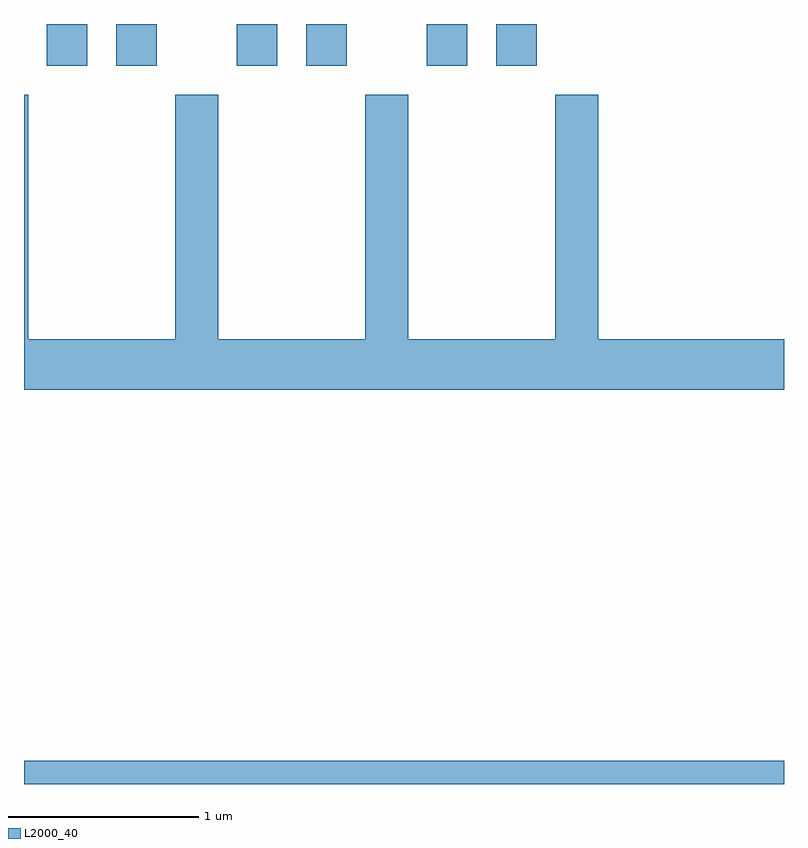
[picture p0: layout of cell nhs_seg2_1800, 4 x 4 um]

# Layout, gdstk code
import gdstk
lib = gdstk.Library(unit=1e-6, precision=1e-09)
def R(c, l, rs):  # rectangles x0, y0, x1, y1
    for r in rs: c.add(gdstk.rectangle(r[:2], r[2:], *l))
def P(c, l, *ps):  # polygons
    for p in ps: c.add(gdstk.Polygon(p, *l))
L2000_40 = (2000, 40)

nhs_seg2_1800 = lib.new_cell('nhs_seg2_1800')
R(nhs_seg2_1800, L2000_40, [(237.611,1041.802,241.611,1041.924), (237.731,1045.581,237.944,1045.802), (238.096,1045.581,238.309,1045.802), (238.731,1045.581,238.944,1045.802), (239.096,1045.581,239.309,1045.802), (239.731,1045.581,239.944,1045.802), (240.096,1045.581,240.309,1045.802)])
P(nhs_seg2_1800, L2000_40, [(237.611,1045.429),(237.611,1043.876),(241.611,1043.876),(241.611,1044.144),(240.634,1044.144),(240.634,1045.429),(240.406,1045.429),(240.406,1044.144),(239.634,1044.144),(239.634,1045.429),(239.406,1045.429),(239.406,1044.144),(238.634,1044.144),(238.634,1045.429),(238.406,1045.429),(238.406,1044.144),(237.634,1044.144),(237.634,1045.429)])

lib.write_gds('nhs_seg2_1800.gds')
